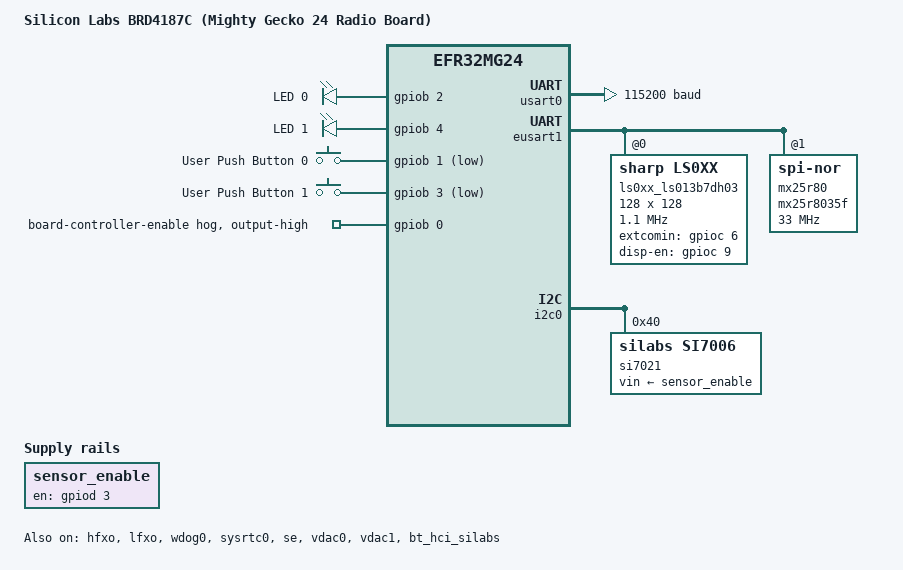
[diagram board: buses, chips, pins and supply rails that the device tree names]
/*
 * Copyright (c) 2023 Fr. Sauter AG
 *
 * SPDX-License-Identifier: Apache-2.0
 */

/dts-v1/;
#include <silabs/xg24/efr32mg24b220f1536im48.dtsi>
#include <zephyr/dt-bindings/input/input-event-codes.h>
#include <zephyr/dt-bindings/regulator/silabs_dcdc.h>
#include "xg24_rb4187c-pinctrl.dtsi"

/ {
	model = "Silicon Labs BRD4187C (Mighty Gecko 24 Radio Board)";
	compatible = "silabs,xg24_rb4187c", "silabs,efr32mg24";

	chosen {
		zephyr,bt-hci = &bt_hci_silabs;
		zephyr,code-partition = &slot0_partition;
		zephyr,console = &usart0;
		zephyr,display = &ls0xx_ls013b7dh03;
		zephyr,flash = &flash0;
		zephyr,shell-uart = &usart0;
		zephyr,sram = &sram0;
		zephyr,uart-pipe = &usart0;
	};

	/* These aliases are provided for compatibility with samples */
	aliases {
		dht0 = &si7021;
		led0 = &led0;
		led1 = &led1;
		sw0 = &button0;
		sw1 = &button1;
		watchdog0 = &wdog0;
	};

	leds {
		compatible = "gpio-leds";

		led0: led_0 {
			gpios = <&gpiob 2 GPIO_ACTIVE_HIGH>;
			label = "LED 0";
		};

		led1: led_1 {
			gpios = <&gpiob 4 GPIO_ACTIVE_HIGH>;
			label = "LED 1";
		};
	};

	buttons {
		compatible = "gpio-keys";

		button0: button_0 {
			gpios = <&gpiob 1 GPIO_ACTIVE_LOW>;
			label = "User Push Button 0";
			zephyr,code = <INPUT_KEY_0>;
		};

		button1: button_1 {
			gpios = <&gpiob 3 GPIO_ACTIVE_LOW>;
			label = "User Push Button 1";
			zephyr,code = <INPUT_KEY_1>;
		};
	};

	sensor_enable: sensor_enable {
		compatible = "regulator-fixed";
		enable-gpios = <&gpiod 3 GPIO_ACTIVE_HIGH>;
		regulator-name = "sensor_enable";
	};
};

&cpu0 {
	clock-frequency = <78000000>;
};

&itm {
	pinctrl-0 = <&itm_default>;
	pinctrl-names = "default";
	swo-ref-frequency = <DT_FREQ_M(78)>;
};

&hfxo {
	ctune = <95>;
	precision = <50>;
	status = "okay";
};

&lfxo {
	ctune = <44>;
	precision = <50>;
	status = "okay";
};

&hfrcodpll {
	clock-frequency = <DT_FREQ_M(78)>;
	clocks = <&hfxo>;
	dpll-autorecover;
	dpll-edge = "fall";
	dpll-lock = "phase";
	dpll-m = <1919>;
	dpll-n = <3839>;
};

&em23grpaclk {
	clocks = <&lfxo>;
};

&em4grpaclk {
	clocks = <&lfxo>;
};

&sysrtcclk {
	clocks = <&lfxo>;
};

&wdog0clk {
	clocks = <&lfxo>;
};

&wdog1clk {
	clocks = <&lfxo>;
};

&usart0 {
	current-speed = <115200>;
	pinctrl-0 = <&usart0_default>;
	pinctrl-names = "default";
	status = "okay";
};

&eusart1 {
	compatible = "silabs,eusart-spi";
	#address-cells = <1>;
	#size-cells = <0>;
	clock-frequency = <DT_FREQ_M(10)>;
	pinctrl-0 = <&eusart1_default>;
	pinctrl-names = "default";
	status = "okay";

	cs-gpios = <&gpioc 8 GPIO_ACTIVE_HIGH>, <&gpioc 4 GPIO_ACTIVE_LOW>;

	ls0xx_ls013b7dh03: ls0xx@0 {
		compatible = "sharp,ls0xx";
		reg = <0>;
		height = <128>;
		spi-max-frequency = <DT_FREQ_K(1100)>;
		width = <128>;
		extcomin-gpios = <&gpioc 6 GPIO_ACTIVE_HIGH>;
		extcomin-frequency = <60>;
		disp-en-gpios = <&gpioc 9 GPIO_ACTIVE_HIGH>;
	};

	mx25r80: mx25r8035f@1 {
		compatible = "jedec,spi-nor";
		reg = <1>;
		dpd-wakeup-sequence = <30000 20 35000>;
		has-dpd;
		jedec-id = [c2 28 14];
		mxicy,mx25r-power-mode = "low-power";
		size = <DT_SIZE_M(8)>;
		spi-max-frequency = <DT_FREQ_M(33)>;
		zephyr,pm-device-runtime-auto;
	};
};

&i2c0 {
	pinctrl-0 = <&i2c0_default>;
	pinctrl-names = "default";
	status = "okay";

	si7021: si7021@40 {
		compatible = "silabs,si7006";
		reg = <0x40>;
		vin-supply = <&sensor_enable>;
	};
};

&gpio {
	status = "okay";
};

&gpioa {
	status = "okay";
};

&gpiob {
	status = "okay";

	board-controller-enable {
		gpio-hog;
		gpios = <0 GPIO_ACTIVE_HIGH>;
		output-high;
	};
};

&gpioc {
	status = "okay";
};

&gpiod {
	status = "okay";
};

&wdog0 {
	status = "okay";
};

&sysrtc0 {
	status = "okay";
};

&se {
	status = "okay";
};

&dcdc {
	regulator-boot-on;
	regulator-initial-mode = <SILABS_DCDC_MODE_BUCK>;
	silabs,pfmx-peak-current-milliamp = <100>;
	status = "okay";
};

&flash0 {
	partitions {
		compatible = "fixed-partitions";
		#address-cells = <1>;
		#size-cells = <1>;

		/* Reserve 48 kB for the bootloader */
		boot_partition: partition@0 {
			reg = <0x0 DT_SIZE_K(48)>;
			label = "mcuboot";
			read-only;
		};

		/* Reserve 720 kB for the application in slot 0 */
		slot0_partition: partition@c000 {
			reg = <0x0000c000 0x000B4000>;
			label = "image-0";
		};

		/* Reserve 720 kB for the application in slot 1 */
		slot1_partition: partition@C0000 {
			reg = <0x000C0000 0x000B4000>;
			label = "image-1";
		};

		/* Reserve 32 kB for the scratch partition */
		scratch_partition: partition@174000 {
			reg = <0x00174000 DT_SIZE_K(32)>;
			label = "image-scratch";
		};

		/* Set 16 kB of storage at the end of the 1536 kB of flash */
		storage_partition: partition@17c000 {
			reg = <0x0017c000 DT_SIZE_K(16)>;
			label = "storage";
		};
	};
};

&vdac0 {
	status = "okay";
};

&vdac1 {
	status = "okay";
};

&bt_hci_silabs {
	status = "okay";
};
